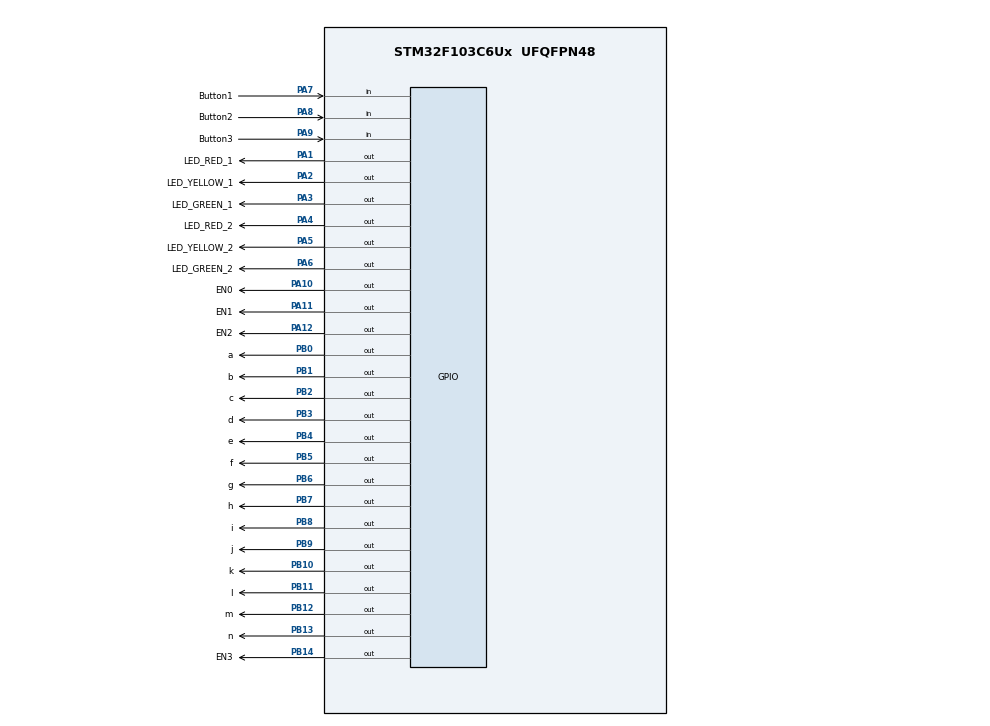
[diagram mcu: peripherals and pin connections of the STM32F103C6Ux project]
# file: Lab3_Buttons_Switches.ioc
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Mcu.Family=STM32F1
Mcu.Name=STM32F103C6Ux
Mcu.Package=UFQFPN48
NVIC.PriorityGroup=NVIC_PRIORITYGROUP_4
NVIC.TIM2_IRQn=true\:0\:0\:false\:false\:true\:true\:true\:true
PA1.GPIO_Label=LED_RED_1
PA1.PinState=GPIO_PIN_SET
PA1.Signal=GPIO_Output
PA10.GPIO_Label=EN0
PA10.PinState=GPIO_PIN_SET
PA10.Signal=GPIO_Output
PA11.GPIO_Label=EN1
PA11.PinState=GPIO_PIN_SET
PA11.Signal=GPIO_Output
PA12.GPIO_Label=EN2
PA12.PinState=GPIO_PIN_SET
PA12.Signal=GPIO_Output
PA13.Mode=Serial_Wire
PA13.Signal=SYS_JTMS-SWDIO
PA14.Mode=Serial_Wire
PA14.Signal=SYS_JTCK-SWCLK
PA2.GPIO_Label=LED_YELLOW_1
PA2.PinState=GPIO_PIN_SET
PA2.Signal=GPIO_Output
PA3.GPIO_Label=LED_GREEN_1
PA3.PinState=GPIO_PIN_SET
PA3.Signal=GPIO_Output
PA4.GPIO_Label=LED_RED_2
PA4.PinState=GPIO_PIN_SET
PA4.Signal=GPIO_Output
PA5.GPIO_Label=LED_YELLOW_2
PA5.PinState=GPIO_PIN_SET
PA5.Signal=GPIO_Output
PA6.GPIO_Label=LED_GREEN_2
PA6.PinState=GPIO_PIN_SET
PA6.Signal=GPIO_Output
PA7.GPIO_Label=Button1
PA7.GPIO_PuPd=GPIO_PULLUP
PA7.Signal=GPIO_Input
PA8.GPIO_Label=Button2
PA8.GPIO_PuPd=GPIO_PULLUP
PA8.Signal=GPIO_Input
PA9.GPIO_Label=Button3
PA9.GPIO_PuPd=GPIO_PULLUP
PA9.Signal=GPIO_Input
PB0.GPIO_Label=a
PB0.PinState=GPIO_PIN_SET
PB0.Signal=GPIO_Output
PB1.GPIO_Label=b
PB1.PinState=GPIO_PIN_SET
PB1.Signal=GPIO_Output
PB10.GPIO_Label=k
PB10.PinState=GPIO_PIN_SET
PB10.Signal=GPIO_Output
PB11.GPIO_Label=l
PB11.PinState=GPIO_PIN_SET
PB11.Signal=GPIO_Output
PB12.GPIO_Label=m
PB12.PinState=GPIO_PIN_SET
PB12.Signal=GPIO_Output
PB13.GPIO_Label=n
PB13.PinState=GPIO_PIN_SET
PB13.Signal=GPIO_Output
PB14.GPIO_Label=EN3
PB14.PinState=GPIO_PIN_SET
PB14.Signal=GPIO_Output
PB2.GPIO_Label=c
PB2.PinState=GPIO_PIN_SET
PB2.Signal=GPIO_Output
PB3.GPIO_Label=d
PB3.PinState=GPIO_PIN_SET
PB3.Signal=GPIO_Output
PB4.GPIO_Label=e
PB4.PinState=GPIO_PIN_SET
PB4.Signal=GPIO_Output
PB5.GPIO_Label=f
PB5.PinState=GPIO_PIN_SET
PB5.Signal=GPIO_Output
PB6.GPIO_Label=g
PB6.PinState=GPIO_PIN_SET
PB6.Signal=GPIO_Output
PB7.GPIO_Label=h
PB7.PinState=GPIO_PIN_SET
PB7.Signal=GPIO_Output
PB8.GPIO_Label=i
PB8.PinState=GPIO_PIN_SET
PB8.Signal=GPIO_Output
PB9.GPIO_Label=j
PB9.PinState=GPIO_PIN_SET
PB9.Signal=GPIO_Output
ProjectManager.HeapSize=0x200
ProjectManager.StackSize=0x400
ProjectManager.TargetToolchain=STM32CubeIDE
RCC.APB1Freq_Value=8000000
RCC.APB2Freq_Value=8000000
TIM2.Period=9
TIM2.Prescaler=7999
VP_TIM2_VS_ClockSourceINT.Mode=Internal
board=custom

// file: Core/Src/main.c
/* USER CODE BEGIN Header */
/**
  ******************************************************************************
  * @file           : main.c
  * @brief          : Main program body
  ******************************************************************************
  * @attention
  *
  * Copyright (c) 2026 STMicroelectronics.
  * All rights reserved.
  *
  * This software is licensed under terms that can be found in the LICENSE file
  * in the root directory of this software component.
  * If no LICENSE file comes with this software, it is provided AS-IS.
  *
  ******************************************************************************
  */
/* USER CODE END Header */
#include "main.h"

/* USER CODE BEGIN Includes */
#include "input_reading.h"
#include "input_processing.h"
#include "led_display.h"
/* USER CODE END Includes */

TIM_HandleTypeDef htim2;

/* USER CODE BEGIN PV */
static volatile uint32_t tim2_irq_count = 0U;
/* USER CODE END PV */

void SystemClock_Config(void);
static void MX_GPIO_Init(void);
static void MX_TIM2_Init(void);

/* USER CODE BEGIN 0 */

static uint8_t traffic_active = 0U;
static uint32_t cycle_start_ms = 0U;
static uint16_t previous_on_pins = 0U;

static void traffic_normal_run(void)
{
    /* Editing modes own the LEDs while normal mode is stopped. */
    if (app_get_mode() != 1U) {
        traffic_active = 0U;
        return;
    }

    uint32_t now_ms = HAL_GetTick();

    /* Restart the cycle whenever Mode 1 is entered. */
    if (traffic_active == 0U) {
        cycle_start_ms = now_ms;
        previous_on_pins = 0U;
        traffic_active = 1U;
    }

    uint32_t green_ms =
        (uint32_t)app_get_green_duration() * 1000U;

    uint32_t amber_ms =
        (uint32_t)app_get_amber_duration() * 1000U;

    /*
     * The existing SET logic maintains:
     * red = green + amber.
     */
    uint32_t half_cycle_ms = green_ms + amber_ms;
    uint32_t cycle_ms = 2U * half_cycle_ms;

    /* Defensive check; normal SET logic prevents zero durations. */
    if ((green_ms == 0U) || (amber_ms == 0U)) {
        traffic_leds_off();
        led_display_set_normal_values(0U, 0U);
        return;
    }

    uint32_t elapsed_ms =
        (uint32_t)(now_ms - cycle_start_ms);

    /* Skip completed cycles without accumulating timing drift. */
    if (elapsed_ms >= cycle_ms) {
        uint32_t cycles = elapsed_ms / cycle_ms;

        cycle_start_ms += cycles * cycle_ms;
        elapsed_ms %= cycle_ms;
    }

    uint32_t phase_elapsed_ms;
    uint8_t left;
    uint8_t right;
    uint16_t on_pins;

    if (elapsed_ms < green_ms) {
        /* Phase 0: road 1 RED, road 2 GREEN. */
        phase_elapsed_ms = elapsed_ms;

        left = (uint8_t)(
            (half_cycle_ms - phase_elapsed_ms + 999U) / 1000U
        );

        right = (uint8_t)(
            (green_ms - phase_elapsed_ms + 999U) / 1000U
        );

        on_pins = LED_RED_1_Pin | LED_GREEN_2_Pin;
    } else if (elapsed_ms < half_cycle_ms) {
        /* Phase 1: road 1 RED, road 2 AMBER. */
        phase_elapsed_ms = elapsed_ms - green_ms;

        left = (uint8_t)(
            (amber_ms - phase_elapsed_ms + 999U) / 1000U
        );

        right = left;

        on_pins = LED_RED_1_Pin | LED_YELLOW_2_Pin;
    } else if (elapsed_ms < half_cycle_ms + green_ms) {
        /* Phase 2: road 1 GREEN, road 2 RED. */
        phase_elapsed_ms = elapsed_ms - half_cycle_ms;

        left = (uint8_t)(
            (green_ms - phase_elapsed_ms + 999U) / 1000U
        );

        right = (uint8_t)(
            (half_cycle_ms - phase_elapsed_ms + 999U) / 1000U
        );

        on_pins = LED_GREEN_1_Pin | LED_RED_2_Pin;
    } else {
        /* Phase 3: road 1 AMBER, road 2 RED. */
        phase_elapsed_ms =
            elapsed_ms - half_cycle_ms - green_ms;

        left = (uint8_t)(
            (amber_ms - phase_elapsed_ms + 999U) / 1000U
        );

        right = left;

        on_pins = LED_YELLOW_1_Pin | LED_RED_2_Pin;
    }

    /* Your traffic LEDs are active-low. */
    if (on_pins != previous_on_pins) {
        traffic_leds_off();

        HAL_GPIO_WritePin(
            GPIOA,
            on_pins,
            GPIO_PIN_RESET
        );

        previous_on_pins = on_pins;
    }

    led_display_set_normal_values(left, right);
}

/* USER CODE END 0 */

int main(void)
{

  /* MCU Configuration--------------------------------------------------------*/

  /* Reset of all peripherals, Initializes the Flash interface and the Systick. */
  HAL_Init();

  /* Configure the system clock */
  SystemClock_Config();

  /* Initialize all configured peripherals */
  MX_GPIO_Init();
  MX_TIM2_Init();
  /* USER CODE BEGIN 2 */
  input_reading_init();
  led_display_init();
  input_processing_init();

  tim2_irq_count = 0U;

  __HAL_TIM_SET_COUNTER(&htim2, 0U);
  __HAL_TIM_CLEAR_FLAG(&htim2, TIM_FLAG_UPDATE);

  if (HAL_TIM_Base_Start_IT(&htim2) != HAL_OK)
  {
      Error_Handler();
  }
  /* USER CODE END 2 */

  /* Infinite loop */
  while (1)
  {

    /* USER CODE BEGIN 3 */
	    fsm_for_input_processing();

	    traffic_normal_run();

	    led_display_run();

	    __WFI();
  }
  /* USER CODE END 3 */
}

void SystemClock_Config(void)
{
  RCC_OscInitTypeDef RCC_OscInitStruct = {0};
  RCC_ClkInitTypeDef RCC_ClkInitStruct = {0};

  /** Initializes the RCC Oscillators according to the specified parameters
  * in the RCC_OscInitTypeDef structure.
  */
  RCC_OscInitStruct.OscillatorType = RCC_OSCILLATORTYPE_HSI;
  RCC_OscInitStruct.HSIState = RCC_HSI_ON;
  RCC_OscInitStruct.HSICalibrationValue = RCC_HSICALIBRATION_DEFAULT;
  RCC_OscInitStruct.PLL.PLLState = RCC_PLL_NONE;
  if (HAL_RCC_OscConfig(&RCC_OscInitStruct) != HAL_OK)
  {
    Error_Handler();
  }

  /** Initializes the CPU, AHB and APB buses clocks
  */
  RCC_ClkInitStruct.ClockType = RCC_CLOCKTYPE_HCLK|RCC_CLOCKTYPE_SYSCLK
                              |RCC_CLOCKTYPE_PCLK1|RCC_CLOCKTYPE_PCLK2;
  RCC_ClkInitStruct.SYSCLKSource = RCC_SYSCLKSOURCE_HSI;
  RCC_ClkInitStruct.AHBCLKDivider = RCC_SYSCLK_DIV1;
  RCC_ClkInitStruct.APB1CLKDivider = RCC_HCLK_DIV1;
  RCC_ClkInitStruct.APB2CLKDivider = RCC_HCLK_DIV1;

  if (HAL_RCC_ClockConfig(&RCC_ClkInitStruct, FLASH_LATENCY_0) != HAL_OK)
  {
    Error_Handler();
  }
}

static void MX_TIM2_Init(void)
{

  TIM_ClockConfigTypeDef sClockSourceConfig = {0};
  TIM_MasterConfigTypeDef sMasterConfig = {0};

  htim2.Instance = TIM2;
  htim2.Init.Prescaler = 7999;
  htim2.Init.CounterMode = TIM_COUNTERMODE_UP;
  htim2.Init.Period = 9;
  htim2.Init.ClockDivision = TIM_CLOCKDIVISION_DIV1;
  htim2.Init.AutoReloadPreload = TIM_AUTORELOAD_PRELOAD_DISABLE;
  if (HAL_TIM_Base_Init(&htim2) != HAL_OK)
  {
    Error_Handler();
  }
  sClockSourceConfig.ClockSource = TIM_CLOCKSOURCE_INTERNAL;
  if (HAL_TIM_ConfigClockSource(&htim2, &sClockSourceConfig) != HAL_OK)
  {
    Error_Handler();
  }
  sMasterConfig.MasterOutputTrigger = TIM_TRGO_RESET;
  sMasterConfig.MasterSlaveMode = TIM_MASTERSLAVEMODE_DISABLE;
  if (HAL_TIMEx_MasterConfigSynchronization(&htim2, &sMasterConfig) != HAL_OK)
  {
    Error_Handler();
  }

}

static void MX_GPIO_Init(void)
{
  GPIO_InitTypeDef GPIO_InitStruct = {0};

  /* GPIO Ports Clock Enable */
  __HAL_RCC_GPIOA_CLK_ENABLE();
  __HAL_RCC_GPIOB_CLK_ENABLE();

  /*Configure GPIO pin Output Level */
  HAL_GPIO_WritePin(GPIOA, LED_RED_1_Pin|LED_YELLOW_1_Pin|LED_GREEN_1_Pin|LED_RED_2_Pin
                          |LED_YELLOW_2_Pin|LED_GREEN_2_Pin|EN0_Pin|EN1_Pin
                          |EN2_Pin, GPIO_PIN_SET);

  /*Configure GPIO pin Output Level */
  HAL_GPIO_WritePin(GPIOB, a_Pin|b_Pin|c_Pin|k_Pin
                          |l_Pin|m_Pin|n_Pin|EN3_Pin
                          |d_Pin|e_Pin|f_Pin|g_Pin
                          |h_Pin|i_Pin|j_Pin, GPIO_PIN_SET);

  /*Configure GPIO pins : LED_RED_1_Pin LED_YELLOW_1_Pin LED_GREEN_1_Pin LED_RED_2_Pin
                           LED_YELLOW_2_Pin LED_GREEN_2_Pin EN0_Pin EN1_Pin
                           EN2_Pin */
  GPIO_InitStruct.Pin = LED_RED_1_Pin|LED_YELLOW_1_Pin|LED_GREEN_1_Pin|LED_RED_2_Pin
                          |LED_YELLOW_2_Pin|LED_GREEN_2_Pin|EN0_Pin|EN1_Pin
                          |EN2_Pin;
  GPIO_InitStruct.Mode = GPIO_MODE_OUTPUT_PP;
  GPIO_InitStruct.Pull = GPIO_NOPULL;
  GPIO_InitStruct.Speed = GPIO_SPEED_FREQ_LOW;
  HAL_GPIO_Init(GPIOA, &GPIO_InitStruct);

  /*Configure GPIO pins : Button1_Pin Button2_Pin Button3_Pin */
  GPIO_InitStruct.Pin = Button1_Pin|Button2_Pin|Button3_Pin;
  GPIO_InitStruct.Mode = GPIO_MODE_INPUT;
  GPIO_InitStruct.Pull = GPIO_PULLUP;
  HAL_GPIO_Init(GPIOA, &GPIO_InitStruct);

  /*Configure GPIO pins : a_Pin b_Pin c_Pin k_Pin
                           l_Pin m_Pin n_Pin EN3_Pin
                           d_Pin e_Pin f_Pin g_Pin
                           h_Pin i_Pin j_Pin */
  GPIO_InitStruct.Pin = a_Pin|b_Pin|c_Pin|k_Pin
                          |l_Pin|m_Pin|n_Pin|EN3_Pin
                          |d_Pin|e_Pin|f_Pin|g_Pin
                          |h_Pin|i_Pin|j_Pin;
  GPIO_InitStruct.Mode = GPIO_MODE_OUTPUT_PP;
  GPIO_InitStruct.Pull = GPIO_NOPULL;
  GPIO_InitStruct.Speed = GPIO_SPEED_FREQ_LOW;
  HAL_GPIO_Init(GPIOB, &GPIO_InitStruct);

}

/* USER CODE BEGIN 4 */
void HAL_TIM_PeriodElapsedCallback(TIM_HandleTypeDef *htim)
{
    if (htim->Instance == TIM2)
    {
        tim2_irq_count++;
        button_reading();
        led_display_scan();
    }
}
/* USER CODE END 4 */

void Error_Handler(void)
{
  __disable_irq();
  while (1)
  {
  }
}
